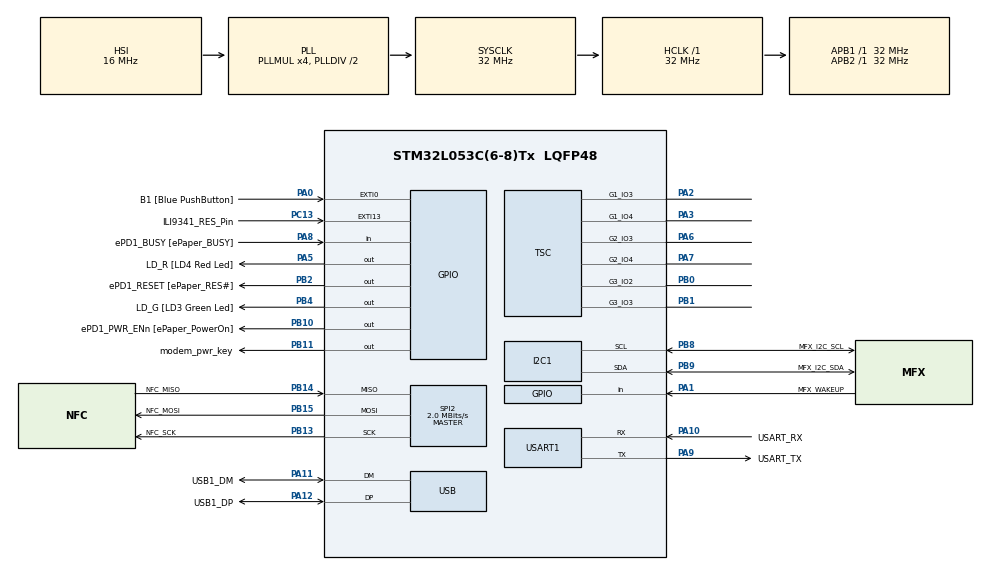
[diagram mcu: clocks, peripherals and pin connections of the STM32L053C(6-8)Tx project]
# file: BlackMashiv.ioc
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I2C1.Timing=0x00B07CB4
Mcu.Family=STM32L0
Mcu.Name=STM32L053C(6-8)Tx
Mcu.Package=LQFP48
Mcu.UserConstants=USB_TX_BUFFER_SIZE,120;USART1_TX_BUFFER_SIZE,120;TIM2_MS_DELAY,300;USB_RX_BUFFER_SIZE,130;USART1_RX_BUFFER_SIZE,130;MAX_USB_RESPONSE,130
NVIC.EXTI0_1_IRQn=true\:1\:0\:true\:false\:true\:true\:true\:true
NVIC.USART1_IRQn=true\:0\:0\:true\:false\:true\:true\:true\:true
NVIC.USB_IRQn=true\:0\:0\:true\:false\:true\:false\:true\:true
PA0.GPIO_Label=B1 [Blue PushButton]
PA0.GPIO_ModeDefaultEXTI=GPIO_MODE_IT_FALLING
PA0.GPIO_PuPd=GPIO_NOPULL
PA0.Signal=GPXTI0
PA1.GPIO_Label=MFX_WAKEUP
PA1.Signal=GPIO_Input
PA10.GPIO_Label=USART_RX
PA10.Mode=Asynchronous
PA10.Signal=USART1_RX
PA11.GPIO_Label=USB1_DM
PA11.Mode=Device
PA11.Signal=USB_DM
PA12.GPIO_Label=USB1_DP
PA12.Mode=Device
PA12.Signal=USB_DP
PA13.GPIO_Label=SWDIO
PA13.Mode=Serial_Wire
PA13.Signal=SYS_SWDIO
PA14.GPIO_Label=SWCLK
PA14.Mode=Serial_Wire
PA14.Signal=SYS_SWCLK
PA15.GPIO_Label=ePD1_CS [ePaper_CS\#]
PA15.GPIO_Mode=GPIO_MODE_AF_PP
PA15.GPIO_PuPd=GPIO_NOPULL
PA15.GPIO_Speed=GPIO_SPEED_FREQ_LOW
PA15.Signal=SPI1_NSS
PA2.Mode=G1_IO3-Channel
PA2.Signal=TSC_G1_IO3
PA3.Mode=G1_IO4-Sampling
PA3.Signal=TSC_G1_IO4
PA5.GPIO_Label=LD_R [LD4 Red Led]
PA5.GPIO_ModeDefaultOutputPP=GPIO_MODE_OUTPUT_PP
PA5.GPIO_PuPd=GPIO_NOPULL
PA5.GPIO_Speed=GPIO_SPEED_FREQ_LOW
PA5.Signal=GPIO_Output
PA6.Mode=G2_IO3-Channel
PA6.Signal=TSC_G2_IO3
PA7.Mode=G2_IO4-Sampling
PA7.Signal=TSC_G2_IO4
PA8.GPIO_Label=ePD1_BUSY [ePaper_BUSY]
PA8.GPIO_Mode=GPIO_MODE_INPUT
PA8.GPIO_PuPd=GPIO_NOPULL
PA8.Signal=GPIO_Input
PA9.GPIO_Label=USART_TX
PA9.Mode=Asynchronous
PA9.Signal=USART1_TX
PB0.Mode=G3_IO2-Channel
PB0.Signal=TSC_G3_IO2
PB1.Mode=G3_IO3-Sampling
PB1.Signal=TSC_G3_IO3
PB10.GPIO_Label=ePD1_PWR_ENn [ePaper_PowerOn]
PB10.GPIO_ModeDefaultOutputPP=GPIO_MODE_OUTPUT_PP
PB10.GPIO_PuPd=GPIO_NOPULL
PB10.GPIO_Speed=GPIO_SPEED_FREQ_LOW
PB10.Signal=GPIO_Output
PB11.GPIO_Label=modem_pwr_key
PB11.GPIO_ModeDefaultOutputPP=GPIO_MODE_OUTPUT_OD
PB11.GPIO_PuPd=GPIO_NOPULL
PB11.GPIO_Speed=GPIO_SPEED_FREQ_LOW
PB11.PinState=GPIO_PIN_SET
PB11.Signal=GPIO_Output
PB12.GPIO_Label=NFC_NSS
PB12.Signal=SPI2_NSS
PB13.GPIO_Label=NFC_SCK
PB13.Mode=Full_Duplex_Master
PB13.Signal=SPI2_SCK
PB14.GPIO_Label=NFC_MISO
PB14.Mode=Full_Duplex_Master
PB14.Signal=SPI2_MISO
PB15.GPIO_Label=NFC_MOSI
PB15.Mode=Full_Duplex_Master
PB15.Signal=SPI2_MOSI
PB2.GPIO_Label=ePD1_RESET [ePaper_RES\#]
PB2.GPIO_ModeDefaultOutputPP=GPIO_MODE_OUTPUT_OD
PB2.GPIO_PuPd=GPIO_NOPULL
PB2.GPIO_Speed=GPIO_SPEED_FREQ_LOW
PB2.Signal=GPIO_Output
PB3.GPIO_Label=ePD1_SCK [ePaper_SCK]
PB3.GPIO_Mode=GPIO_MODE_AF_PP
PB3.GPIO_PuPd=GPIO_NOPULL
PB3.GPIO_Speed=GPIO_SPEED_FREQ_LOW
PB3.Signal=SPI1_SCK
PB4.GPIO_Label=LD_G [LD3 Green Led]
PB4.GPIO_ModeDefaultOutputPP=GPIO_MODE_OUTPUT_PP
PB4.GPIO_PuPd=GPIO_NOPULL
PB4.GPIO_Speed=GPIO_SPEED_FREQ_LOW
PB4.Signal=GPIO_Output
PB5.GPIO_Label=ePD1_MOSI [ePaper_MOSI]
PB5.GPIO_Mode=GPIO_MODE_AF_PP
PB5.GPIO_PuPd=GPIO_NOPULL
PB5.GPIO_Speed=GPIO_SPEED_FREQ_LOW
PB5.Signal=SPI1_MOSI
PB8.GPIO_Label=MFX_I2C_SCL
PB8.GPIO_Pu=GPIO_PULLUP
PB8.Mode=I2C
PB8.Signal=I2C1_SCL
PB9.GPIO_Label=MFX_I2C_SDA
PB9.GPIO_Pu=GPIO_PULLUP
PB9.Mode=I2C
PB9.Signal=I2C1_SDA
PC13.GPIO_Label=ILI9341_RES_Pin
PC13.Signal=GPXTI13
PC14-OSC32_IN.GPIO_Label=PC14-OSC32_IN
PC14-OSC32_IN.Signal=RCC_OSC32_IN
PC15-OSC32_OUT.GPIO_Label=PC15-OSC32_OUT
PC15-OSC32_OUT.Signal=RCC_OSC32_OUT
PH0-OSC_IN.GPIO_Label=MCO
PH0-OSC_IN.Mode=HSE-External-Clock-Source
PH0-OSC_IN.Signal=RCC_OSC_IN
ProjectManager.HeapSize=0x200
ProjectManager.StackSize=0x400
ProjectManager.TargetToolchain=STM32CubeIDE
RCC.AHBFreq_Value=32000000
RCC.APB1Freq_Value=32000000
RCC.APB1TimFreq_Value=32000000
RCC.APB2Freq_Value=32000000
RCC.APB2TimFreq_Value=32000000
RCC.HCLKFreq_Value=32000000
RCC.HSE_VALUE=8000000
RCC.HSI16_VALUE=16000000
RCC.HSI48MClockSelection=RCC_USBCLKSOURCE_HSI48
RCC.HSI48_VALUE=48000000
RCC.HSI_VALUE=16000000
RCC.LSE_VALUE=32768
RCC.MSI_VALUE=2097000
RCC.PLLMUL=RCC_PLLMUL_4
RCC.RTCClockSelectionVirtual=RCC_RTCCLKSOURCE_LSE
RCC.SYSCLKFreq_VALUE=32000000
RCC.SYSCLKSource=RCC_SYSCLKSOURCE_PLLCLK
RCC.VCOOutputFreq_Value=64000000
SPI2.BaudRatePrescaler=SPI_BAUDRATEPRESCALER_16
SPI2.CalculateBaudRate=2.0 MBits/s
SPI2.Direction=SPI_DIRECTION_2LINES
SPI2.Mode=SPI_MODE_MASTER
SPI2.VirtualType=VM_MASTER
TIM2.AutoReloadPreload=TIM_AUTORELOAD_PRELOAD_DISABLE
TIM2.Period=10000
TIM2.Prescaler=1599
TSC.ChannelIOs-G1_IO3=TSC_GROUP1_IO3
TSC.ChannelIOs-G2_IO3=TSC_GROUP2_IO3
TSC.ChannelIOs-G3_IO2=TSC_GROUP3_IO2
TSC.SamplingIOs-G1_IO4=TSC_GROUP1_IO4
TSC.SamplingIOs-G2_IO4=TSC_GROUP2_IO4
TSC.SamplingIOs-G3_IO3=TSC_GROUP3_IO3
USART1.VirtualMode-Asynchronous=VM_ASYNC
USB_DEVICE.CLASS_NAME_FS=CDC
USB_DEVICE.VirtualMode=Cdc
USB_DEVICE.VirtualModeFS=Cdc_FS
VP_TIM2_VS_ClockSourceINT.Mode=Internal
VP_USB_DEVICE_VS_USB_DEVICE_CDC_FS.Mode=CDC_FS
board=STM32L0538-DISCO

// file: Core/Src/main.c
/* USER CODE BEGIN Header */
/**
  ******************************************************************************
  * @file           : main.c
  * @brief          : Main program body
  ******************************************************************************
  * @attention
  *
  * Copyright (c) 2024 STMicroelectronics.
  * All rights reserved.
  *
  * This software is licensed under terms that can be found in the LICENSE file
  * in the root directory of this software component.
  * If no LICENSE file comes with this software, it is provided AS-IS.
  *
  ******************************************************************************
  */
/* USER CODE END Header */
#include "main.h"
#include "usb_device.h"

/* USER CODE BEGIN Includes */
#include "usbd_cdc_if.h"
#include "modem_interface.h"
#include <stdio.h>
#include <stdlib.h>
#include <stdbool.h>
/* USER CODE END Includes */

/* USER CODE BEGIN PTD */
extern USBD_HandleTypeDef hUsbDeviceFS;

/* USER CODE END PTD */

I2C_HandleTypeDef hi2c1;

SPI_HandleTypeDef hspi2;

TIM_HandleTypeDef htim2;

TSC_HandleTypeDef htsc;

UART_HandleTypeDef huart1;

/* USER CODE BEGIN PV */
uint8_t usart1_rx_buffer[USART1_RX_BUFFER_SIZE];
uint8_t usart1_tx_buffer[USART1_TX_BUFFER_SIZE];

uint8_t* usb_tx_buffer;
uint8_t* usb_rx_buffer;

char* welcome_message =
    "*******************************************\n"
    "*         Welcome to Command Terminal     *\n"
    "*******************************************\n";

char* command_list =
    "Available Commands:\n"
    "  1. modem_data    - Display modem information.\n"
    "  2. sim_data      - Display SIM information (IMSI and ICCID).\n"
    "  3. set_apn       - Set the APN for the modem and reboot it.\n"
    "  4. get_apn       - Retrieve the current APN configuration.\n"
    "  5. check_net_status     - Check network readiness and state.\n"
    "  6. net_data      - Retrieve network information, including cell and signal details.\n"
    "  7. send_msg      - Send a message to a specified IP and port.\n";

char* instruction_message =
    "-------------------------------------------\n"
    "Type your command and press Enter to execute.\n"
    "-------------------------------------------\r\n";

/* USER CODE END PV */

void SystemClock_Config(void);
static void MX_GPIO_Init(void);
static void MX_I2C1_Init(void);
static void MX_SPI2_Init(void);
static void MX_TSC_Init(void);
static void MX_USART1_UART_Init(void);
static void MX_TIM2_Init(void);
/* USER CODE BEGIN PFP */
void UART_TX_CALLBACK(struct __UART_HandleTypeDef *huart);
void HAL_TIM_PeriodElapsedCallback(TIM_HandleTypeDef *htim);
void clear_uart_rx_buffer(void);

/* USER CODE END PFP */

int main(void)
{

  /* USER CODE BEGIN 1 */

	strcat(welcome_message, command_list);
	strcat(welcome_message, instruction_message);
//	HAL_UARTEx_ReceiveToIdle_IT(&huart1, usart1_rx_buffer, USART1_RX_BUFFER_SIZE);
  /* USER CODE END 1 */

  /* MCU Configuration--------------------------------------------------------*/

  /* Reset of all peripherals, Initializes the Flash interface and the Systick. */
  HAL_Init();

  /* USER CODE BEGIN Init */
//  Font_12x18.height = 12;
//  Font_12x18.width = 18;
  /* USER CODE END Init */

  /* Configure the system clock */
  SystemClock_Config();

  /* Initialize all configured peripherals */
  MX_GPIO_Init();
  MX_I2C1_Init();
  MX_SPI2_Init();
  MX_TSC_Init();
  MX_USART1_UART_Init();
  MX_USB_DEVICE_Init();
  MX_TIM2_Init();
  /* USER CODE BEGIN 2 */

//  HAL_UARTEx_ReceiveToIdle_IT(&huart1, usart1_rx_buffer, USART1_RX_BUFFER_SIZE);

  /* USER CODE END 2 */
//	HAL_UARTEx_ReceiveToIdle_IT(&huart1, usart1_rx_buffer, USART1_RX_BUFFER_SIZE);
//	clear_uart_rx_buffer();
  /* Infinite loop */
  {

  }
}

void SystemClock_Config(void)
{
  RCC_OscInitTypeDef RCC_OscInitStruct = {0};
  RCC_ClkInitTypeDef RCC_ClkInitStruct = {0};
  RCC_PeriphCLKInitTypeDef PeriphClkInit = {0};

  /** Configure the main internal regulator output voltage
  */
  __HAL_PWR_VOLTAGESCALING_CONFIG(PWR_REGULATOR_VOLTAGE_SCALE1);

  /** Initializes the RCC Oscillators according to the specified parameters
  * in the RCC_OscInitTypeDef structure.
  */
  RCC_OscInitStruct.OscillatorType = RCC_OSCILLATORTYPE_HSI|RCC_OSCILLATORTYPE_HSI48;
  RCC_OscInitStruct.HSIState = RCC_HSI_ON;
  RCC_OscInitStruct.HSICalibrationValue = RCC_HSICALIBRATION_DEFAULT;
  RCC_OscInitStruct.HSI48State = RCC_HSI48_ON;
  RCC_OscInitStruct.PLL.PLLState = RCC_PLL_ON;
  RCC_OscInitStruct.PLL.PLLSource = RCC_PLLSOURCE_HSI;
  RCC_OscInitStruct.PLL.PLLMUL = RCC_PLLMUL_4;
  RCC_OscInitStruct.PLL.PLLDIV = RCC_PLLDIV_2;
  if (HAL_RCC_OscConfig(&RCC_OscInitStruct) != HAL_OK)
  {
    Error_Handler();
  }

  /** Initializes the CPU, AHB and APB buses clocks
  */
  RCC_ClkInitStruct.ClockType = RCC_CLOCKTYPE_HCLK|RCC_CLOCKTYPE_SYSCLK
                              |RCC_CLOCKTYPE_PCLK1|RCC_CLOCKTYPE_PCLK2;
  RCC_ClkInitStruct.SYSCLKSource = RCC_SYSCLKSOURCE_PLLCLK;
  RCC_ClkInitStruct.AHBCLKDivider = RCC_SYSCLK_DIV1;
  RCC_ClkInitStruct.APB1CLKDivider = RCC_HCLK_DIV1;
  RCC_ClkInitStruct.APB2CLKDivider = RCC_HCLK_DIV1;

  if (HAL_RCC_ClockConfig(&RCC_ClkInitStruct, FLASH_LATENCY_1) != HAL_OK)
  {
    Error_Handler();
  }
  PeriphClkInit.PeriphClockSelection = RCC_PERIPHCLK_USART1|RCC_PERIPHCLK_I2C1
                              |RCC_PERIPHCLK_USB;
  PeriphClkInit.Usart1ClockSelection = RCC_USART1CLKSOURCE_PCLK2;
  PeriphClkInit.I2c1ClockSelection = RCC_I2C1CLKSOURCE_PCLK1;
  PeriphClkInit.UsbClockSelection = RCC_USBCLKSOURCE_HSI48;
  if (HAL_RCCEx_PeriphCLKConfig(&PeriphClkInit) != HAL_OK)
  {
    Error_Handler();
  }
}

static void MX_I2C1_Init(void)
{

  hi2c1.Instance = I2C1;
  hi2c1.Init.Timing = 0x00B07CB4;
  hi2c1.Init.OwnAddress1 = 0;
  hi2c1.Init.AddressingMode = I2C_ADDRESSINGMODE_7BIT;
  hi2c1.Init.DualAddressMode = I2C_DUALADDRESS_DISABLE;
  hi2c1.Init.OwnAddress2 = 0;
  hi2c1.Init.OwnAddress2Masks = I2C_OA2_NOMASK;
  hi2c1.Init.GeneralCallMode = I2C_GENERALCALL_DISABLE;
  hi2c1.Init.NoStretchMode = I2C_NOSTRETCH_DISABLE;
  if (HAL_I2C_Init(&hi2c1) != HAL_OK)
  {
    Error_Handler();
  }

  /** Configure Analogue filter
  */
  if (HAL_I2CEx_ConfigAnalogFilter(&hi2c1, I2C_ANALOGFILTER_ENABLE) != HAL_OK)
  {
    Error_Handler();
  }

  /** Configure Digital filter
  */
  if (HAL_I2CEx_ConfigDigitalFilter(&hi2c1, 0) != HAL_OK)
  {
    Error_Handler();
  }

}

static void MX_SPI2_Init(void)
{

  /* SPI2 parameter configuration*/
  hspi2.Instance = SPI2;
  hspi2.Init.Mode = SPI_MODE_MASTER;
  hspi2.Init.Direction = SPI_DIRECTION_2LINES;
  hspi2.Init.DataSize = SPI_DATASIZE_8BIT;
  hspi2.Init.CLKPolarity = SPI_POLARITY_LOW;
  hspi2.Init.CLKPhase = SPI_PHASE_1EDGE;
  hspi2.Init.NSS = SPI_NSS_SOFT;
  hspi2.Init.BaudRatePrescaler = SPI_BAUDRATEPRESCALER_16;
  hspi2.Init.FirstBit = SPI_FIRSTBIT_MSB;
  hspi2.Init.TIMode = SPI_TIMODE_DISABLE;
  hspi2.Init.CRCCalculation = SPI_CRCCALCULATION_DISABLE;
  hspi2.Init.CRCPolynomial = 7;
  if (HAL_SPI_Init(&hspi2) != HAL_OK)
  {
    Error_Handler();
  }

}

static void MX_TIM2_Init(void)
{

  TIM_ClockConfigTypeDef sClockSourceConfig = {0};
  TIM_MasterConfigTypeDef sMasterConfig = {0};

  htim2.Instance = TIM2;
  htim2.Init.Prescaler = 1599;
  htim2.Init.CounterMode = TIM_COUNTERMODE_UP;
  htim2.Init.Period = 10000;
  htim2.Init.ClockDivision = TIM_CLOCKDIVISION_DIV1;
  htim2.Init.AutoReloadPreload = TIM_AUTORELOAD_PRELOAD_DISABLE;
  if (HAL_TIM_Base_Init(&htim2) != HAL_OK)
  {
    Error_Handler();
  }
  sClockSourceConfig.ClockSource = TIM_CLOCKSOURCE_INTERNAL;
  if (HAL_TIM_ConfigClockSource(&htim2, &sClockSourceConfig) != HAL_OK)
  {
    Error_Handler();
  }
  sMasterConfig.MasterOutputTrigger = TIM_TRGO_RESET;
  sMasterConfig.MasterSlaveMode = TIM_MASTERSLAVEMODE_DISABLE;
  if (HAL_TIMEx_MasterConfigSynchronization(&htim2, &sMasterConfig) != HAL_OK)
  {
    Error_Handler();
  }

}

static void MX_TSC_Init(void)
{

  /** Configure the TSC peripheral
  */
  htsc.Instance = TSC;
  htsc.Init.CTPulseHighLength = TSC_CTPH_2CYCLES;
  htsc.Init.CTPulseLowLength = TSC_CTPL_2CYCLES;
  htsc.Init.SpreadSpectrum = DISABLE;
  htsc.Init.SpreadSpectrumDeviation = 1;
  htsc.Init.SpreadSpectrumPrescaler = TSC_SS_PRESC_DIV1;
  htsc.Init.PulseGeneratorPrescaler = TSC_PG_PRESC_DIV4;
  htsc.Init.MaxCountValue = TSC_MCV_8191;
  htsc.Init.IODefaultMode = TSC_IODEF_OUT_PP_LOW;
  htsc.Init.SynchroPinPolarity = TSC_SYNC_POLARITY_FALLING;
  htsc.Init.AcquisitionMode = TSC_ACQ_MODE_NORMAL;
  htsc.Init.MaxCountInterrupt = DISABLE;
  htsc.Init.ChannelIOs = TSC_GROUP1_IO3|TSC_GROUP2_IO3|TSC_GROUP3_IO2;
  htsc.Init.ShieldIOs = 0;
  htsc.Init.SamplingIOs = TSC_GROUP1_IO4|TSC_GROUP2_IO4|TSC_GROUP3_IO3;
  if (HAL_TSC_Init(&htsc) != HAL_OK)
  {
    Error_Handler();
  }

}

static void MX_USART1_UART_Init(void)
{

  huart1.Instance = USART1;
  huart1.Init.BaudRate = 115200;
  huart1.Init.WordLength = UART_WORDLENGTH_8B;
  huart1.Init.StopBits = UART_STOPBITS_1;
  huart1.Init.Parity = UART_PARITY_NONE;
  huart1.Init.Mode = UART_MODE_TX_RX;
  huart1.Init.HwFlowCtl = UART_HWCONTROL_NONE;
  huart1.Init.OverSampling = UART_OVERSAMPLING_16;
  huart1.Init.OneBitSampling = UART_ONE_BIT_SAMPLE_DISABLE;
  huart1.AdvancedInit.AdvFeatureInit = UART_ADVFEATURE_NO_INIT;
  if (HAL_UART_Init(&huart1) != HAL_OK)
  {
    Error_Handler();
  }
  /* USER CODE BEGIN USART1_Init 2 */
  HAL_UART_RegisterCallback(&huart1, HAL_UART_TX_COMPLETE_CB_ID, UART_TX_CALLBACK);
  /* USER CODE END USART1_Init 2 */

}

static void MX_GPIO_Init(void)
{
  GPIO_InitTypeDef GPIO_InitStruct = {0};

  /* GPIO Ports Clock Enable */
  __HAL_RCC_GPIOC_CLK_ENABLE();
  __HAL_RCC_GPIOH_CLK_ENABLE();
  __HAL_RCC_GPIOA_CLK_ENABLE();
  __HAL_RCC_GPIOB_CLK_ENABLE();

  /*Configure GPIO pin Output Level */
  HAL_GPIO_WritePin(LD_R_GPIO_Port, LD_R_Pin, GPIO_PIN_RESET);

  /*Configure GPIO pin Output Level */
  HAL_GPIO_WritePin(GPIOB, ePD1_RESET_Pin|ePD1_PWR_ENn_Pin|LD_G_Pin, GPIO_PIN_RESET);

  /*Configure GPIO pin Output Level */
  HAL_GPIO_WritePin(modem_pwr_key_GPIO_Port, modem_pwr_key_Pin, GPIO_PIN_SET);

  /*Configure GPIO pin : ILI9341_RES_Pin_Pin */
  GPIO_InitStruct.Pin = ILI9341_RES_Pin_Pin;
  GPIO_InitStruct.Mode = GPIO_MODE_IT_RISING;
  GPIO_InitStruct.Pull = GPIO_NOPULL;
  HAL_GPIO_Init(ILI9341_RES_Pin_GPIO_Port, &GPIO_InitStruct);

  /*Configure GPIO pin : B1_Pin */
  GPIO_InitStruct.Pin = B1_Pin;
  GPIO_InitStruct.Mode = GPIO_MODE_IT_FALLING;
  GPIO_InitStruct.Pull = GPIO_NOPULL;
  HAL_GPIO_Init(B1_GPIO_Port, &GPIO_InitStruct);

  /*Configure GPIO pins : MFX_WAKEUP_Pin ePD1_BUSY_Pin */
  GPIO_InitStruct.Pin = MFX_WAKEUP_Pin|ePD1_BUSY_Pin;
  GPIO_InitStruct.Mode = GPIO_MODE_INPUT;
  GPIO_InitStruct.Pull = GPIO_NOPULL;
  HAL_GPIO_Init(GPIOA, &GPIO_InitStruct);

  /*Configure GPIO pin : LD_R_Pin */
  GPIO_InitStruct.Pin = LD_R_Pin;
  GPIO_InitStruct.Mode = GPIO_MODE_OUTPUT_PP;
  GPIO_InitStruct.Pull = GPIO_NOPULL;
  GPIO_InitStruct.Speed = GPIO_SPEED_FREQ_LOW;
  HAL_GPIO_Init(LD_R_GPIO_Port, &GPIO_InitStruct);

  /*Configure GPIO pins : ePD1_RESET_Pin modem_pwr_key_Pin */
  GPIO_InitStruct.Pin = ePD1_RESET_Pin|modem_pwr_key_Pin;
  GPIO_InitStruct.Mode = GPIO_MODE_OUTPUT_OD;
  GPIO_InitStruct.Pull = GPIO_NOPULL;
  GPIO_InitStruct.Speed = GPIO_SPEED_FREQ_LOW;
  HAL_GPIO_Init(GPIOB, &GPIO_InitStruct);

  /*Configure GPIO pins : ePD1_PWR_ENn_Pin LD_G_Pin */
  GPIO_InitStruct.Pin = ePD1_PWR_ENn_Pin|LD_G_Pin;
  GPIO_InitStruct.Mode = GPIO_MODE_OUTPUT_PP;
  GPIO_InitStruct.Pull = GPIO_NOPULL;
  GPIO_InitStruct.Speed = GPIO_SPEED_FREQ_LOW;
  HAL_GPIO_Init(GPIOB, &GPIO_InitStruct);

  /*Configure GPIO pin : ePD1_CS_Pin */
  GPIO_InitStruct.Pin = ePD1_CS_Pin;
  GPIO_InitStruct.Mode = GPIO_MODE_AF_PP;
  GPIO_InitStruct.Pull = GPIO_NOPULL;
  GPIO_InitStruct.Speed = GPIO_SPEED_FREQ_LOW;
  GPIO_InitStruct.Alternate = GPIO_AF0_SPI1;
  HAL_GPIO_Init(ePD1_CS_GPIO_Port, &GPIO_InitStruct);

  /*Configure GPIO pins : ePD1_SCK_Pin ePD1_MOSI_Pin */
  GPIO_InitStruct.Pin = ePD1_SCK_Pin|ePD1_MOSI_Pin;
  GPIO_InitStruct.Mode = GPIO_MODE_AF_PP;
  GPIO_InitStruct.Pull = GPIO_NOPULL;
  GPIO_InitStruct.Speed = GPIO_SPEED_FREQ_LOW;
  GPIO_InitStruct.Alternate = GPIO_AF0_SPI1;
  HAL_GPIO_Init(GPIOB, &GPIO_InitStruct);

  /* EXTI interrupt init*/
  HAL_NVIC_SetPriority(EXTI0_1_IRQn, 1, 0);
  HAL_NVIC_EnableIRQ(EXTI0_1_IRQn);

/* USER CODE BEGIN MX_GPIO_Init_2 */
  GPIO_InitStruct.Pin = B1_Pin;
  GPIO_InitStruct.Mode = GPIO_MODE_IT_FALLING;
  GPIO_InitStruct.Pull = GPIO_NOPULL;
  GPIO_InitStruct.Speed = GPIO_SPEED_FREQ_LOW;
  HAL_GPIO_Init(B1_GPIO_Port, &GPIO_InitStruct);
/* USER CODE END MX_GPIO_Init_2 */
}

/* USER CODE BEGIN 4 */

void UART_TX_CALLBACK(struct __UART_HandleTypeDef *huart)
{
//	memset(usart1_rx_buffer, 0, strlen((char*)usart1_rx_buffer));
	HAL_GPIO_TogglePin(LD_G_GPIO_Port, LD_G_Pin);
	HAL_UARTEx_ReceiveToIdle_IT(&huart1, usart1_rx_buffer, USART1_RX_BUFFER_SIZE);
}

void HAL_UARTEx_RxEventCallback(UART_HandleTypeDef *huart, uint16_t Size)
{
//	HAL_UART_Transmit_IT(&huart1, rx_buffer, strlen((char*)rx_buffer));
	HAL_GPIO_TogglePin(LD_R_GPIO_Port, LD_R_Pin);
//	memset(usart1_rx_buffer, 0, USART1_RX_BUFFER_SIZE);
//	CDC_Transmit_FS(usart1_rx_buffer, strlen((char*)usart1_rx_buffer));
//	HAL_UARTEx_ReceiveToIdle_IT(&huart1, usart1_rx_buffer, USART1_RX_BUFFER_SIZE);
}

void HAL_GPIO_EXTI_Callback(uint16_t GPIO_Pin)
{
  if(GPIO_Pin == B1_Pin) {
//	  CDC_Transmit_FS((uint8_t*)welcome_message, strlen(welcome_message) + strlen(command_list) + strlen(instruction_message));
//	  send_AT_cmd(ati);
	  char data_buf[USART1_RX_BUFFER_SIZE];
	  HAL_UARTEx_ReceiveToIdle_IT(&huart1, usart1_rx_buffer, USART1_RX_BUFFER_SIZE);
	  get_modem_data(data_buf);
	  get_sim_data(data_buf);
	  force_lte_scan(data_buf);
	  query_net_status(data_buf);
	  set_apn_func(data_buf);
	  check_operator_selection(data_buf);
	  open_socket(data_buf, SOCKET_ID);
	  close_socket(data_buf, SOCKET_ID);
  } else {
      __NOP();
  }
}

void HAL_TIM_PeriodElapsedCallback(TIM_HandleTypeDef *htim)
{
	if(htim == &htim2)
	{
		HAL_GPIO_TogglePin(modem_pwr_key_GPIO_Port, modem_pwr_key_Pin);
		HAL_GPIO_TogglePin(LD_G_GPIO_Port, LD_G_Pin);
	}
}

void clear_uart_rx_buffer(void)
{
	memset(usart1_rx_buffer, 0, USART1_RX_BUFFER_SIZE);
}

//char* get_modem_info(void)
//{
//
//}

//int _write(int fd, char * ptr, int len)
//{
//  HAL_UART_Transmit_IT(&huart1, (uint8_t *) ptr, len);
//  return len;
//}

/* USER CODE END 4 */

void Error_Handler(void)
{
  __disable_irq();
  while (1)
  {
  }
}
